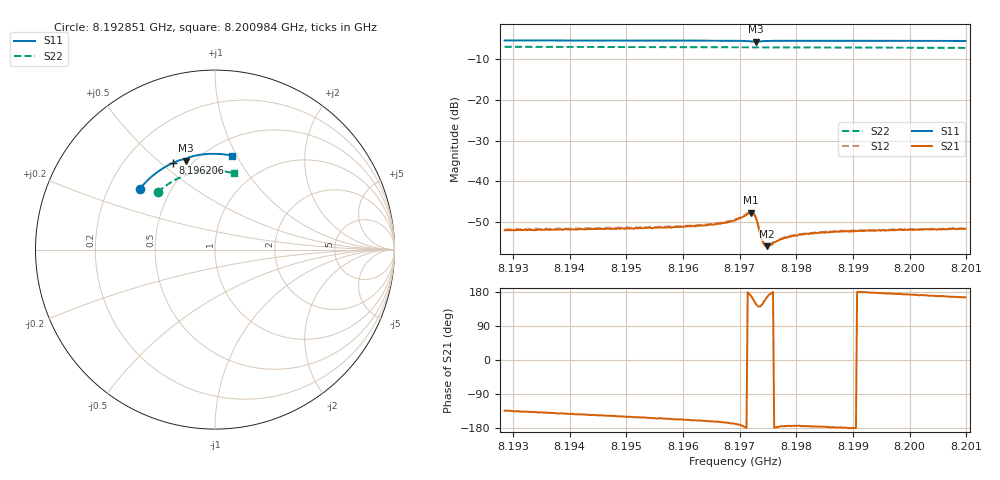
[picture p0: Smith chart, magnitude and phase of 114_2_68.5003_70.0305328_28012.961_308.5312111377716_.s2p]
#  HZ  S  RI  R  50.00
! Rohde & Schwarz Vector Network Analyzer
! Rohde-Schwarz,ZNB20-2Port,1311601062101988,3.16
! Created: UTC 3/20/2024, 4:53:41 PM
! freq[Hz]  re:S11  im:S11  re:S21  im:S21  re:S12  im:S12  re:S22  im:S22
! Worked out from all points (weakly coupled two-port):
!   401 points, 8.192851 GHz to 8.200984 GHz, reference 50 ohm
!   highest |S21| = -47.73 dB at 8.197202 GHz (marker M1); lowest = -56.0 dB at 8.197487 GHz (marker M2)
!   lowest |S11| = -5.7 dB at 8.197283 GHz (marker M3), VSWR 3.17, Z = 22.9 + j31.1 ohm
!   |S11| at or under -10 dB: nowhere
!   |S22| runs from -7.2 to -6.9 dB; largest |S21 - S12| = 0.00023
!   S11 on the Smith chart (normalised r, x): 8.192851 GHz: 0.33, +0.32; 8.196206 GHz: 0.41, +0.55; 8.200984 GHz: 0.65, +0.96
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8.1928511e9  -0.4195 0.3394  -0.00174 -0.00179  -0.00181 -0.0018  -0.3188 0.3189
8.1942134e9  -0.3521 0.4077  -0.00209 -0.00153  -0.00216 -0.00149  -0.2596 0.3662
8.1955756e9  -0.2733 0.4629  -0.00242 -0.0012  -0.00254 -0.00112  -0.1931 0.4031
8.1962059e9  -0.2333 0.4835  -0.00263 -0.00101  -0.00274 -0.000923  -0.1604 0.4163
8.1966329e9  -0.2046 0.4955  -0.00289 -0.000865  -0.00297 -0.000761  -0.1376 0.4235
8.1969175e9  -0.1839 0.502  -0.00325 -0.000678  -0.00335 -0.000553  -0.1222 0.4278
8.1971615e9  -0.1628 0.5024  -0.00404 0.000315  -0.00408 0.000486  -0.1086 0.4306
8.1972022e9  -0.16 0.5002  -0.00403 0.000797  -0.00406 0.001  -0.1064 0.4311
8.1972428e9  -0.1588 0.4973  -0.00374 0.00145  -0.00374 0.0016  -0.1041 0.4315
8.1972835e9  -0.1603 0.4954  -0.00304 0.00187  -0.00302 0.00201  -0.102 0.4319
8.1973851e9  -0.1625 0.5017  -0.00161 0.00114  -0.00156 0.00121  -0.0967 0.4332
8.1974055e9  -0.1616 0.5035  -0.00154 0.000949  -0.00155 0.00102  -0.0957 0.4334
8.1974461e9  -0.1591 0.5066  -0.0015 0.000625  -0.00152 0.000685  -0.0933 0.4339
8.1974868e9  -0.1561 0.5087  -0.00155 0.000366  -0.00158 0.000404  -0.0912 0.4344
8.1975275e9  -0.1532 0.5108  -0.00164 0.000191  -0.00166 0.000244  -0.0888 0.4347
8.1976698e9  -0.1421 0.5153  -0.00185 -8.34e-05  -0.0019 -4.07e-05  -0.0808 0.436
8.1978324e9  -0.13 0.5191  -0.002 -0.000209  -0.00207 -0.000137  -0.0717 0.4375
8.1980968e9  -0.1109 0.5235  -0.00223 -0.000211  -0.00224 -0.000149  -0.0569 0.4392
8.1982797e9  -0.0979 0.526  -0.0023 -0.000205  -0.0023 -9.08e-05  -0.0467 0.44
8.1988084e9  -0.0604 0.5313  -0.00242 -6.64e-05  -0.00248 5.73e-05  -0.0167 0.4412
8.199642e9  -0.00106 0.5336  -0.00249 0.000188  -0.00253 0.000318  0.0304 0.4391
8.2009839e9  0.0932 0.5239  -0.00252 0.000659  -0.0025 0.00081  0.1052 0.4247
